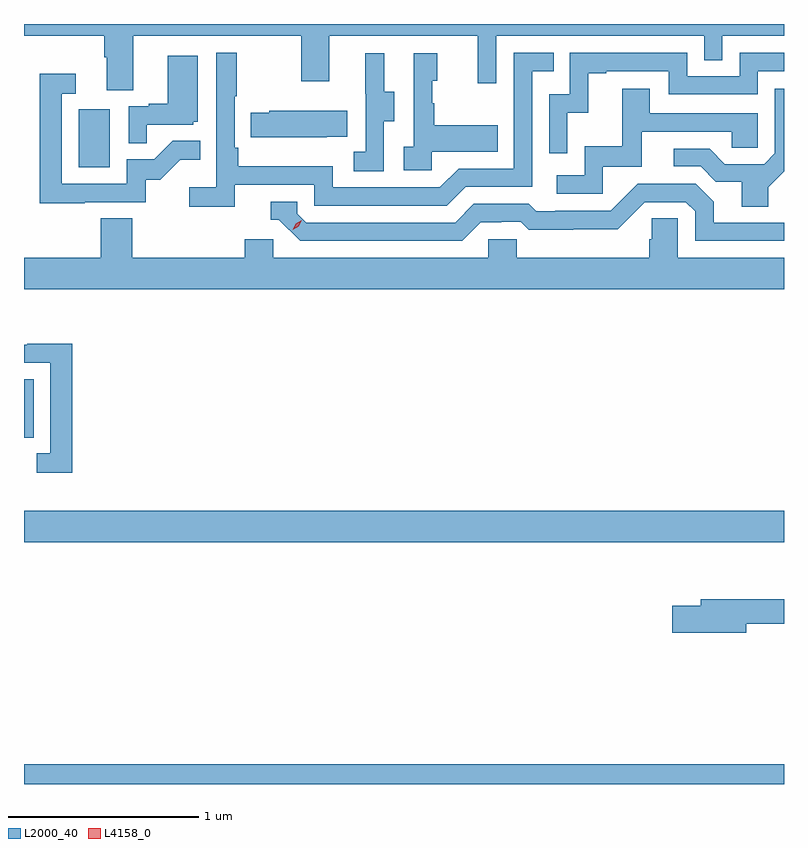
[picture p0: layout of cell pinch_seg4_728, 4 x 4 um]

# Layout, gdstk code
import gdstk
lib = gdstk.Library(unit=1e-6, precision=1e-09)
def R(c, l, rs):  # rectangles x0, y0, x1, y1
    for r in rs: c.add(gdstk.rectangle(r[:2], r[2:], *l))
def P(c, l, *ps):  # polygons
    for p in ps: c.add(gdstk.Polygon(p, *l))
L2000_40 = (2000, 40)
L4158_0 = (4158, 0)

pinch_seg4_728 = lib.new_cell('pinch_seg4_728')
R(pinch_seg4_728, L2000_40, [(886.088,823.519,890.088,823.624), (886.088,824.792,890.088,824.956), (886.088,825.342,886.138,825.649), (886.376,826.764,886.54,827.071)])
P(pinch_seg4_728, L2000_40, [(886.663,827.456),(887.548,827.456),(887.548,827.217),(887.695,827.217),(887.695,827.456),(888.476,827.456),(888.476,827.208),(888.573,827.208),(888.573,827.456),(889.668,827.456),(889.668,827.329),(889.764,827.329),(889.764,827.456),(890.088,827.456),(890.088,827.519),(886.088,827.519),(886.088,827.456),(886.511,827.456),(886.511,827.344),(886.523,827.344),(886.523,827.17),(886.663,827.17)],
  [(887.198,826.674),(887.616,826.674),(887.616,826.563),(888.313,826.563),(888.412,826.662),(888.762,826.662),(888.762,827.271),(888.875,827.271),(888.875,827.367),(888.666,827.367),(888.666,826.758),(888.375,826.758),(888.276,826.659),(887.712,826.659),(887.712,826.771),(887.216,826.771),(887.216,826.867),(887.196,826.867),(887.196,827.14),(887.209,827.14),(887.209,827.368),(887.1,827.368),(887.1,826.66),(886.959,826.66),(886.959,826.558),(887.198,826.558)],
  [(888.948,827.051),(889.058,827.051),(889.058,827.259),(889.153,827.259),(889.153,827.271),(889.482,827.271),(889.482,827.148),(889.95,827.148),(889.95,827.271),(890.088,827.271),(890.088,827.367),(889.854,827.367),(889.854,827.244),(889.578,827.244),(889.578,827.367),(888.96,827.367),(888.96,827.148),(888.852,827.148),(888.852,826.839),(888.948,826.839)],
  [(887.982,827.008),(888.037,827.008),(888.037,827.163),(887.983,827.163),(887.983,827.365),(887.885,827.365),(887.885,827.151),(887.886,827.151),(887.886,826.847),(887.823,826.847),(887.823,826.744),(887.982,826.744)],
  [(888.234,826.847),(888.581,826.847),(888.581,826.987),(888.247,826.987),(888.247,827.102),(888.237,827.102),(888.237,827.22),(888.262,827.22),(888.262,827.365),(888.138,827.365),(888.138,826.874),(888.087,826.874),(888.087,826.749),(888.234,826.749)],
  [(886.733,826.989),(886.98,826.989),(886.98,827.004),(887.002,827.004),(887.002,827.353),(886.844,827.353),(886.844,827.098),(886.745,827.098),(886.745,827.085),(886.638,827.085),(886.638,826.891),(886.733,826.891)],
  [(886.409,826.581),(886.728,826.581),(886.728,826.698),(886.804,826.698),(886.911,826.805),(887.015,826.805),(887.015,826.904),(886.871,826.904),(886.773,826.806),(886.629,826.806),(886.629,826.677),(886.287,826.677),(886.287,827.151),(886.36,827.151),(886.36,827.257),(886.171,827.257),(886.171,826.576),(886.409,826.576)],
  [(889.134,826.767),(889.339,826.767),(889.339,826.953),(889.813,826.953),(889.813,826.869),(889.95,826.869),(889.95,827.049),(889.381,827.049),(889.381,827.179),(889.237,827.179),(889.237,826.876),(889.038,826.876),(889.038,826.722),(888.891,826.722),(888.891,826.626),(889.134,826.626)],
  [(890.005,826.66),(890.088,826.743),(890.088,827.179),(890.04,827.179),(890.04,826.839),(889.983,826.782),(889.777,826.782),(889.696,826.863),(889.509,826.863),(889.509,826.77),(889.65,826.77),(889.73,826.69),(889.865,826.69),(889.865,826.558),(890.005,826.558)],
  [(887.681,826.925),(887.789,826.925),(887.789,827.062),(887.379,827.062),(887.379,827.052),(887.281,827.052),(887.281,826.922),(887.681,826.922)],
  [(888.493,826.476),(888.6,826.476),(888.6,826.479),(888.703,826.479),(888.745,826.437),(888.978,826.437),(888.978,826.439),(889.214,826.439),(889.356,826.581),(889.572,826.581),(889.62,826.533),(889.62,826.377),(890.088,826.377),(890.088,826.473),(889.717,826.473),(889.717,826.583),(889.623,826.677),(889.317,826.677),(889.176,826.536),(888.883,826.536),(888.883,826.533),(888.784,826.533),(888.745,826.572),(888.456,826.572),(888.357,826.473),(887.574,826.473),(887.526,826.521),(887.526,826.584),(887.387,826.584),(887.387,826.488),(887.43,826.488),(887.541,826.377),(888.394,826.377)],
  [(890.088,826.288),(889.53,826.288),(889.53,826.496),(889.393,826.496),(889.393,826.386),(889.379,826.386),(889.379,826.288),(888.681,826.288),(888.681,826.386),(888.531,826.386),(888.531,826.288),(887.4,826.288),(887.4,826.386),(887.249,826.386),(887.249,826.288),(886.658,826.288),(886.658,826.496),(886.493,826.496),(886.493,826.288),(886.088,826.288),(886.088,826.124),(890.088,826.124)],
  [(886.343,825.836),(886.105,825.836),(886.105,825.831),(886.088,825.831),(886.088,825.735),(886.227,825.735),(886.227,825.261),(886.155,825.261),(886.155,825.156),(886.343,825.156)],
  [(889.888,824.362),(890.088,824.362),(890.088,824.491),(889.649,824.491),(889.649,824.457),(889.5,824.457),(889.5,824.315),(889.888,824.315)])
P(pinch_seg4_728, L4158_0, [(887.503,826.435),(887.503,826.435),(887.519,826.468),(887.55,826.487),(887.55,826.487),(887.55,826.486),(887.534,826.454),(887.503,826.435)])

lib.write_gds('pinch_seg4_728.gds')
